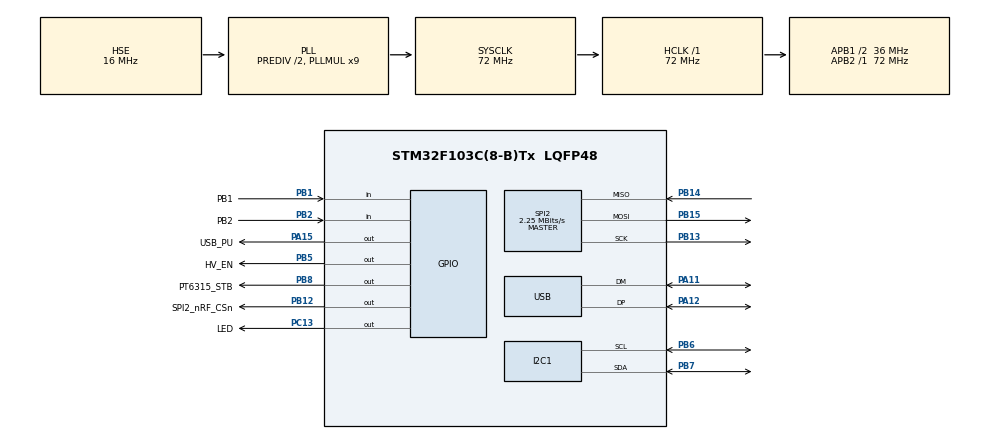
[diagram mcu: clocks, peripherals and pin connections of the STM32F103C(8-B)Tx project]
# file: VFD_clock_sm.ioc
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Mcu.Family=STM32F1
Mcu.Name=STM32F103C(8-B)Tx
Mcu.Package=LQFP48
NVIC.PriorityGroup=NVIC_PRIORITYGROUP_4
NVIC.USB_LP_CAN1_RX0_IRQn=true\:0\:0\:false\:false\:true\:false\:true
PA11.Mode=Device
PA11.Signal=USB_DM
PA12.Mode=Device
PA12.Signal=USB_DP
PA13.Mode=Serial_Wire
PA13.Signal=SYS_JTMS-SWDIO
PA14.Mode=Serial_Wire
PA14.Signal=SYS_JTCK-SWCLK
PA15.GPIO_Label=USB_PU
PA15.Signal=GPIO_Output
PB1.GPIO_Label=PB1
PB1.GPIO_PuPd=GPIO_NOPULL
PB1.Signal=GPIO_Input
PB12.GPIO_Label=SPI2_nRF_CSn
PB12.PinState=GPIO_PIN_SET
PB12.Signal=GPIO_Output
PB13.Mode=Full_Duplex_Master
PB13.Signal=SPI2_SCK
PB14.Mode=Full_Duplex_Master
PB14.Signal=SPI2_MISO
PB15.Mode=Full_Duplex_Master
PB15.Signal=SPI2_MOSI
PB2.GPIO_Label=PB2
PB2.Signal=GPIO_Input
PB5.GPIO_Label=HV_EN
PB5.Signal=GPIO_Output
PB6.Mode=I2C
PB6.Signal=I2C1_SCL
PB7.Mode=I2C
PB7.Signal=I2C1_SDA
PB8.GPIO_Label=PT6315_STB
PB8.PinState=GPIO_PIN_SET
PB8.Signal=GPIO_Output
PC13-TAMPER-RTC.GPIO_Label=LED
PC13-TAMPER-RTC.PinState=GPIO_PIN_SET
PC13-TAMPER-RTC.Signal=GPIO_Output
PD0-OSC_IN.Mode=HSE-External-Oscillator
PD0-OSC_IN.Signal=RCC_OSC_IN
PD1-OSC_OUT.Mode=HSE-External-Oscillator
PD1-OSC_OUT.Signal=RCC_OSC_OUT
ProjectManager.HeapSize=0x200
ProjectManager.StackSize=0x400
ProjectManager.TargetToolchain=STM32CubeIDE
RCC.AHBFreq_Value=72000000
RCC.APB1CLKDivider=RCC_HCLK_DIV2
RCC.APB1Freq_Value=36000000
RCC.APB1TimFreq_Value=72000000
RCC.APB2Freq_Value=72000000
RCC.APB2TimFreq_Value=72000000
RCC.HCLKFreq_Value=72000000
RCC.HSEDivPLL=RCC_HSE_PREDIV_DIV2
RCC.HSE_VALUE=16000000
RCC.PLLMUL=RCC_PLL_MUL9
RCC.SYSCLKFreq_VALUE=72000000
RCC.SYSCLKSource=RCC_SYSCLKSOURCE_PLLCLK
RCC.USBFreq_Value=48000000
RCC.USBPrescaler=RCC_USBCLKSOURCE_PLL_DIV1_5
SPI2.BaudRatePrescaler=SPI_BAUDRATEPRESCALER_16
SPI2.CLKPhase=SPI_PHASE_2EDGE
SPI2.CLKPolarity=SPI_POLARITY_HIGH
SPI2.CalculateBaudRate=2.25 MBits/s
SPI2.Direction=SPI_DIRECTION_2LINES
SPI2.FirstBit=SPI_FIRSTBIT_LSB
SPI2.Mode=SPI_MODE_MASTER
SPI2.VirtualType=VM_MASTER
USB_DEVICE.CLASS_NAME_FS=CDC
USB_DEVICE.VirtualMode=Cdc
USB_DEVICE.VirtualModeFS=Cdc_FS
VP_USB_DEVICE_VS_USB_DEVICE_CDC_FS.Mode=CDC_FS
board=custom

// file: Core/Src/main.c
/* USER CODE BEGIN Header */
/**
 ******************************************************************************
 * @file           : main.c
 * @brief          : Main program body
 ******************************************************************************
 * @attention
 *
 * <h2><center>&copy; Copyright (c) 2021 STMicroelectronics.
 * All rights reserved.</center></h2>
 *
 * This software component is licensed by ST under BSD 3-Clause license,
 * the "License"; You may not use this file except in compliance with the
 * License. You may obtain a copy of the License at:
 *                        opensource.org/licenses/BSD-3-Clause
 *
 ******************************************************************************
 */
/* USER CODE END Header */
#include "main.h"
#include "usb_device.h"

/* USER CODE BEGIN Includes */
#include "fifo.h"
#include "usbd_cdc_if.h"
#include "microrl_cmd.h"
#include "vfd.h"
#include "d3231.h"
#include "bme280.h"

/* USER CODE END Includes */

I2C_HandleTypeDef hi2c1;

SPI_HandleTypeDef hspi2;

/* USER CODE BEGIN PV */

uint8_t brightness;

/* USER CODE END PV */

void SystemClock_Config(void);
static void MX_GPIO_Init(void);
static void MX_I2C1_Init(void);
static void MX_SPI2_Init(void);

/* USER CODE BEGIN 0 */

struct bme280_dev dev;
uint8_t dev_addr = BME280_I2C_ADDR_PRIM<<1;
struct bme280_data comp_data;

// seems to be update in last versions, used only for 2ms and 1ms delays
void user_delay_us(uint32_t period, void *intf_ptr)
{
    /*
     * Return control or wait,
     * for a period amount of ~milliseconds~ ms
     */
	HAL_Delay(period/1000);
}

int8_t user_i2c_read(uint8_t reg_addr, uint8_t *reg_data, uint32_t len, void *intf_ptr)
{
    int8_t rslt = 0; /* Return 0 for Success, non-zero for failure */

    /*
     * The parameter intf_ptr can be used as a variable to store the I2C address of the device
     */

    /*
     * Data on the bus should be like
     * |------------+---------------------|
     * | I2C action | Data                |
     * |------------+---------------------|
     * | Start      | -                   |
     * | Write      | (reg_addr)          |
     * | Stop       | -                   |
     * | Start      | -                   |
     * | Read       | (reg_data[0])       |
     * | Read       | (....)              |
     * | Read       | (reg_data[len - 1]) |
     * | Stop       | -                   |
     * |------------+---------------------|
     */
	HAL_I2C_Mem_Read(&hi2c1, dev_addr, reg_addr, 1, reg_data, len, 100);

    return rslt;
}

int8_t user_i2c_write(uint8_t reg_addr, const uint8_t *reg_data, uint32_t len, void *intf_ptr)
{
    int8_t rslt = 0; /* Return 0 for Success, non-zero for failure */

    /*
     * The parameter intf_ptr can be used as a variable to store the I2C address of the device
     */

    /*
     * Data on the bus should be like
     * |------------+---------------------|
     * | I2C action | Data                |
     * |------------+---------------------|
     * | Start      | -                   |
     * | Write      | (reg_addr)          |
     * | Write      | (reg_data[0])       |
     * | Write      | (....)              |
     * | Write      | (reg_data[len - 1]) |
     * | Stop       | -                   |
     * |------------+---------------------|
     */
	HAL_I2C_Mem_Write(&hi2c1, dev_addr, reg_addr, 1, (uint8_t*)reg_data, len, 100);

    return rslt;
}

int8_t init_bme280_i2c(void)
{
	int8_t rslt = BME280_OK;
	dev.intf_ptr = &dev_addr;
	dev.intf = BME280_I2C_INTF;
	dev.read = user_i2c_read;
	dev.write = user_i2c_write;
	dev.delay_us = user_delay_us;

	rslt = bme280_init(&dev);
	return rslt;
}

void vfd_update(void) {
	uint8_t data = 0b11000000; // command 3, set address to 0
	HAL_GPIO_WritePin(PT6315_STB_GPIO_Port, PT6315_STB_Pin, 0);
	HAL_SPI_Transmit(&hspi2, &data, 1, 0xffffffff);
	HAL_SPI_Transmit(&hspi2, vfd.arr1, sizeof(vfd.arr1), 0xffffffff);
	HAL_GPIO_WritePin(PT6315_STB_GPIO_Port, PT6315_STB_Pin, 1);
}

void do_microrl(void)
{
	while (!fifo_is_empty())
	{
		uint8_t buf = fifo_pop();
		microrl_print_char(buf);
	}
}

void do_vfd_init(void)
{
	HAL_GPIO_WritePin(PT6315_STB_GPIO_Port, PT6315_STB_Pin, 1); // put CS high

	HAL_Delay(300);
	HAL_GPIO_WritePin(HV_EN_GPIO_Port, HV_EN_Pin, 1);

	for (int i = 0; i < sizeof(vfd.arr1); i++) {
		vfd.arr1[i] = 0xFF;
	}
	uint8_t data;

	data = 0b01000001; // command 2, write to LED port
	HAL_GPIO_WritePin(PT6315_STB_GPIO_Port, PT6315_STB_Pin, 0);
	HAL_SPI_Transmit(&hspi2, &data, 1, 0xffffffff);
	HAL_Delay(10);

	data = 0b1111; // disable LEDs

	HAL_SPI_Transmit(&hspi2, &data, 1, 0xffffffff);
	HAL_GPIO_WritePin(PT6315_STB_GPIO_Port, PT6315_STB_Pin, 1);

	data = 0b01000000; // command 2, write to Display port
	HAL_GPIO_WritePin(PT6315_STB_GPIO_Port, PT6315_STB_Pin, 0);
	HAL_SPI_Transmit(&hspi2, &data, 1, 0xffffffff);
	HAL_GPIO_WritePin(PT6315_STB_GPIO_Port, PT6315_STB_Pin, 1);
	HAL_Delay(10);
	vfd_update();
	HAL_Delay(10);
	// init display, 11 digits 17 segments
	data = 0b00000111; // command 1, 11 digits 17 segments
	HAL_GPIO_WritePin(PT6315_STB_GPIO_Port, PT6315_STB_Pin, 0);
	HAL_SPI_Transmit(&hspi2, &data, 1, 0xffffffff);
	HAL_GPIO_WritePin(PT6315_STB_GPIO_Port, PT6315_STB_Pin, 1);
	HAL_Delay(10);

	for (uint8_t i = 0; i <= 0b111; i++) {
		data = 0b10000000; // command 4
		data |= 1 << 3; // enable/disable display
		data |= i; // set brightness
		HAL_GPIO_WritePin(PT6315_STB_GPIO_Port, PT6315_STB_Pin, 0);
		HAL_SPI_Transmit(&hspi2, &data, 1, 0xffffffff);
		HAL_GPIO_WritePin(PT6315_STB_GPIO_Port, PT6315_STB_Pin, 1);
		HAL_Delay(250);
		do_microrl();
	}

	for (int i = 0; i < 11; i++) {
		for (int b = 0; b < 3; b++) // erasing from right to left
		{
			vfd.arr2[i][b] = 0;
		}
		vfd_update();
		HAL_Delay(150);
		do_microrl();
	}
	HAL_Delay(500);
	do_microrl();

	//erase everything... just in case
	clr_vfd();

	// fill everything
	for (int j = 1; j < 15; j++) {
		uint32_t temp = 1 << j;
		for (int i = 1; i < 11; i++) {
			for (int b = 0; b < 3; b++) {
				vfd.arr2[i][b] |= (temp >> (b << 3)) & 0xFF;
			}
		}
		vfd_update();
		HAL_Delay(100);
		do_microrl();
	}

	const uint8_t arr[][2] = {
			{ 6, 0 },
			{ 0, 0 },
			{ 0, 1 },
			{ 0, 4 },
			{ 0, 3 },
			{ 0, 5 },
			{ 0, 2 },
			{ 0, 6 },
			{ 1, 16 },
			{ 1, 15 },
			{ 2, 16 },
			{ 2, 15 },
			{ 3, 16 },
			{ 3, 15 },
			{ 4, 16 },
			{ 4, 15 },
			{ 5, 16 },
			{ 5, 15 },
			{ 6, 16 },
			{ 6, 15 },
			{ 8, 16 },
			{ 8, 15 },
			{ 9, 16 },
			{ 10, 16 },
			{ 10, 15 },
	};

	for (int j = 0; j < sizeof(arr) / 2; j++) {
		for (int b = 0; b < 3; b++)
			vfd.arr2[arr[j][0]][b] |= ((1 << arr[j][1]) >> (b << 3)) & 0xFF;
		vfd_update();
		HAL_Delay(70);
		do_microrl();
	}

	HAL_Delay(300);

	//erase everything... just in case
	clr_vfd();

	vfd_update();
}

void do_brightness(void)
{
	uint8_t data;
	static uint32_t last_time = 0;
	if (HAL_GPIO_ReadPin(PB2_GPIO_Port, PB2_Pin))
	{
		// update only if pause shorter than 2 sec
		if (HAL_GetTick() - last_time < 2000)
		{
			brightness = (brightness - 1)&0b111;
			d3231_set_A2M2(0b111-brightness);
		}

		save_vfd();
		clr_vfd();
		uint32_t bits = 0;
		for (int i = 2; i < 1 + 2 + brightness; i++)
			bits |= 1<<i;
		symbols_vfd(bits);
		str2vfd("BRIGHTNESS");
		vfd_update();

		data = 0b10000000; // command 4
		data |= 1<<3; // enable/disable display
		data |= brightness&0b111; // set brightness
		HAL_GPIO_WritePin(PT6315_STB_GPIO_Port, PT6315_STB_Pin, 0);
		HAL_SPI_Transmit(&hspi2, &data, 1, 0xffffffff);
		HAL_GPIO_WritePin(PT6315_STB_GPIO_Port, PT6315_STB_Pin, 1);
		HAL_Delay(20);
		while(HAL_GPIO_ReadPin(PB2_GPIO_Port, PB2_Pin)); // wait release
		HAL_Delay(100);
		last_time = HAL_GetTick();
		restore_vfd();
		vfd_update();
	}
}

void do_clock(void)
{
	static uint32_t last_time = 0;
	if (HAL_GetTick() - last_time < 50)
		return;
	last_time = HAL_GetTick();

	if (show_clock)
	{
		uint8_t * time = d3231_get_time();
		uint8_t clock [4];

		static uint8_t old_seconds = 0;
		clock[0] = time[1] & 0xF;
		clock[1] = (time[1] >> 4) & 0xF;
		clock[2] = time[2] & 0xF;
		clock[3] = (time[2] >> 4) & 0xF;

		if (time[0] != old_seconds)
		{
			old_seconds = time[0];

			//erase everything...
			clr_vfd();

			for (int i = 0; i < 4; i++)
			{
				uint16_t buf = get_char(clock[i]);

				vfd.arr2[4+i][0] = buf & 0xFF;
				vfd.arr2[4+i][1] = (buf>>8)&0xFF;
			}

			if ((time[0]&0b1) == 0)
			{
				for (int b = 0; b < 3; b++)
					vfd.arr2[6][b] |= ((1<<0)>>(b<<3))&0xFF;
			}

			vfd_update();
		}
	}
}

void do_text(void)
{
	static uint32_t last_time = 0;
	static uint32_t t2dlen = 0;
	if (HAL_GetTick() - last_time < 300)
		return;
	last_time = HAL_GetTick();

	if (show_clock)
		return;

	static int16_t pos = 0;

	if (fresh_txt)
	{
		fresh_txt = false;
		pos = 0;
		t2dlen = strlen(txt2disp);
		// if text too long add spaces before
		if (t2dlen > 10)
		{
			for (int i = sizeof(txt2disp) - 11; i >= 0; i--)
				txt2disp[i + 10] = txt2disp[i];
			for (int i = 0; i < 10; i ++)
				txt2disp[i] = ' ';
			t2dlen += 10;
		}
	}

	clr_vfd();
	str2vfd(&txt2disp[pos]);
	if (t2dlen > 10) // scroll long text
	{
		if (pos < t2dlen)
			pos += 1;
		else
			pos = 0;
		symbols_vfd(0b11);
		//symbols_vfd(1<<(19+((tick++)&0b11)));
	}
	vfd_update();
}

void do_leds(void)
{
	static uint32_t last_time = 0;
	static uint8_t tick_counter = 0;
	if (HAL_GetTick() - last_time < 500)
		return;
	last_time = HAL_GetTick();
	if (use_leds)
	{
		HAL_GPIO_TogglePin(LED_GPIO_Port, LED_Pin);

		uint8_t data = 0b01000001; // command 2, write to LED port
		HAL_GPIO_WritePin(PT6315_STB_GPIO_Port, PT6315_STB_Pin, 0);
		HAL_SPI_Transmit(&hspi2, &data, 1, 0xffffffff);

		data = ~(1<<((tick_counter++ >> 1)&0b11));

		HAL_SPI_Transmit(&hspi2, &data, 1, 0xffffffff);
		HAL_GPIO_WritePin(PT6315_STB_GPIO_Port, PT6315_STB_Pin, 1);
	}
	else
	{
		HAL_GPIO_WritePin(LED_GPIO_Port, LED_Pin, 1);
		uint8_t data = 0b01000001; // command 2, write to LED port
		HAL_GPIO_WritePin(PT6315_STB_GPIO_Port, PT6315_STB_Pin, 0);
		HAL_SPI_Transmit(&hspi2, &data, 1, 0xffffffff);

		data = 0b1111; // disable all leds

		HAL_SPI_Transmit(&hspi2, &data, 1, 0xffffffff);
		HAL_GPIO_WritePin(PT6315_STB_GPIO_Port, PT6315_STB_Pin, 1);
	}

}

// read temperature from d3231 sensor
void _do_temperature(void)
{
	uint16_t buf;
	// show temperature
	if (HAL_GPIO_ReadPin(PB1_GPIO_Port, PB1_Pin))
	{
		//erase everything...
		clr_vfd();

		uint8_t td3231 = *d3231_get_temp();
		uint8_t td [6];

		td[0] = 'C';
		td[1] = 176; //°
		uint8_t i = 2;
		while (td3231)
		{
			td[i++] = td3231 %10;
			td3231 /= 10;
		}
		if (i>2)
			td[i] = td3231&(1<<7)?'-':'+';

		for (int j = 0; j <= i; j++)
		{
			buf = get_char(td[j]);

			vfd.arr2[j+1][0] = buf & 0xFF;
			vfd.arr2[j+1][1] = (buf>>8)&0xFF;
		}

		vfd_update();
		HAL_Delay(20);
		while(HAL_GPIO_ReadPin(PB1_GPIO_Port, PB1_Pin)); // wait release
		HAL_Delay(1000);
		show_clock = true;
	}
}

void update_thp(void)
{
	int8_t rslt;
	uint8_t settings_sel;
	uint32_t req_delay;

	dev.settings.osr_h = BME280_OVERSAMPLING_1X;
	dev.settings.osr_p = BME280_OVERSAMPLING_1X;
	dev.settings.osr_t = BME280_OVERSAMPLING_1X;
	dev.settings.filter = BME280_FILTER_COEFF_OFF;

	settings_sel = BME280_OSR_PRESS_SEL | BME280_OSR_TEMP_SEL | BME280_OSR_HUM_SEL | BME280_FILTER_SEL;

	rslt = bme280_set_sensor_settings(settings_sel, &dev);

	/*Calculate the minimum delay required between consecutive measurement based upon the sensor enabled
	 *  and the oversampling configuration. */
	req_delay = bme280_cal_meas_delay(&dev.settings);

	rslt = bme280_set_sensor_mode(BME280_FORCED_MODE, &dev);
	HAL_Delay(req_delay+5); // just in case some longer delay
	rslt = bme280_get_sensor_data(BME280_ALL, &comp_data, &dev);

	// do some data preparation
	comp_data.humidity = comp_data.humidity*10/1024;
	comp_data.temperature = (comp_data.temperature + 5)/10;
	comp_data.pressure  = (comp_data.pressure + 5)/10;

	snprintf(bme280_ascii.temperature, 11,
			"%+5d.%d %cC",
			(int16_t)comp_data.temperature/10,
			(int16_t)comp_data.temperature%10,
			176);

	snprintf(bme280_ascii.humidity, 11,
			"%4d.%d%% RH",
			(int16_t)comp_data.humidity/10,
			(int16_t)comp_data.humidity%10);

	snprintf(bme280_ascii.pressure, 11,
			"%4d.%d hPa",
			(int16_t)comp_data.pressure/10,
			(int16_t)comp_data.pressure%10);

	strcpy(bme280_ascii.all, bme280_ascii.temperature);
	strcat(bme280_ascii.all, "; ");
	strcat(bme280_ascii.all, bme280_ascii.humidity);
	strcat(bme280_ascii.all, "; ");
	strcat(bme280_ascii.all, bme280_ascii.pressure);
}

void do_measurements(void)
{
	static uint32_t last_time = 0;
	if (HAL_GetTick() - last_time < 200)
		return;

	while(HAL_GPIO_ReadPin(PB1_GPIO_Port, PB1_Pin)) // wait release
	{
		update_thp();

		clr_vfd();

		str2vfd(bme280_ascii.temperature);
		vfd_update();
		HAL_Delay(2000);
		str2vfd(bme280_ascii.humidity);
		vfd_update();
		HAL_Delay(2000);
		str2vfd(bme280_ascii.pressure);
		vfd_update();
		HAL_Delay(2000);

		show_clock = true;
	}

	last_time = HAL_GetTick();
}

/* USER CODE END 0 */

int main(void)
{

	/* MCU Configuration--------------------------------------------------------*/

	/* Reset of all peripherals, Initializes the Flash interface and the Systick. */
	HAL_Init();

	/* Configure the system clock */
	SystemClock_Config();

	/* Initialize all configured peripherals */
	MX_GPIO_Init();
	MX_I2C1_Init();
	MX_SPI2_Init();
	MX_USB_DEVICE_Init();
	/* USER CODE BEGIN 2 */
	HAL_GPIO_WritePin(USB_PU_GPIO_Port, USB_PU_Pin, 1); // we have initialized USB, pull it up!
	d3231_init(&hi2c1);
	init_microrl(); // we are ready for microrl!

	init_bme280_i2c();

	do_vfd_init(); // nice demo

	d3231_get_all();

	brightness = 0b111-d3231_get_A2M2(); // alarm2 minutes as EEPROM, default max

	uint8_t data;

	data = 0b10000000; // command 4
	data |= 1<<3; // enable/disable display
	data |= brightness&0b111; // set brightness
	HAL_GPIO_WritePin(PT6315_STB_GPIO_Port, PT6315_STB_Pin, 0);
	HAL_SPI_Transmit(&hspi2, &data, 1, 0xffffffff);
	HAL_GPIO_WritePin(PT6315_STB_GPIO_Port, PT6315_STB_Pin, 1);

	/* USER CODE END 2 */

	/* Infinite loop */
	/* USER CODE BEGIN WHILE */
	while (1)
	{
		do_microrl();
		do_brightness();
		do_clock();
		do_text();
		do_leds();
		do_measurements();
		/* USER CODE END WHILE */

	}
}

void SystemClock_Config(void)
{
	RCC_OscInitTypeDef RCC_OscInitStruct = {0};
	RCC_ClkInitTypeDef RCC_ClkInitStruct = {0};
	RCC_PeriphCLKInitTypeDef PeriphClkInit = {0};

	/** Initializes the RCC Oscillators according to the specified parameters
	 * in the RCC_OscInitTypeDef structure.
	 */
	RCC_OscInitStruct.OscillatorType = RCC_OSCILLATORTYPE_HSE;
	RCC_OscInitStruct.HSEState = RCC_HSE_ON;
	RCC_OscInitStruct.HSEPredivValue = RCC_HSE_PREDIV_DIV2;
	RCC_OscInitStruct.HSIState = RCC_HSI_ON;
	RCC_OscInitStruct.PLL.PLLState = RCC_PLL_ON;
	RCC_OscInitStruct.PLL.PLLSource = RCC_PLLSOURCE_HSE;
	RCC_OscInitStruct.PLL.PLLMUL = RCC_PLL_MUL9;
	if (HAL_RCC_OscConfig(&RCC_OscInitStruct) != HAL_OK)
	{
		Error_Handler();
	}
	/** Initializes the CPU, AHB and APB buses clocks
	 */
	RCC_ClkInitStruct.ClockType = RCC_CLOCKTYPE_HCLK|RCC_CLOCKTYPE_SYSCLK
			|RCC_CLOCKTYPE_PCLK1|RCC_CLOCKTYPE_PCLK2;
	RCC_ClkInitStruct.SYSCLKSource = RCC_SYSCLKSOURCE_PLLCLK;
	RCC_ClkInitStruct.AHBCLKDivider = RCC_SYSCLK_DIV1;
	RCC_ClkInitStruct.APB1CLKDivider = RCC_HCLK_DIV2;
	RCC_ClkInitStruct.APB2CLKDivider = RCC_HCLK_DIV1;

	if (HAL_RCC_ClockConfig(&RCC_ClkInitStruct, FLASH_LATENCY_2) != HAL_OK)
	{
		Error_Handler();
	}
	PeriphClkInit.PeriphClockSelection = RCC_PERIPHCLK_USB;
	PeriphClkInit.UsbClockSelection = RCC_USBCLKSOURCE_PLL_DIV1_5;
	if (HAL_RCCEx_PeriphCLKConfig(&PeriphClkInit) != HAL_OK)
	{
		Error_Handler();
	}
}

static void MX_I2C1_Init(void)
{

	hi2c1.Instance = I2C1;
	hi2c1.Init.ClockSpeed = 100000;
	hi2c1.Init.DutyCycle = I2C_DUTYCYCLE_2;
	hi2c1.Init.OwnAddress1 = 0;
	hi2c1.Init.AddressingMode = I2C_ADDRESSINGMODE_7BIT;
	hi2c1.Init.DualAddressMode = I2C_DUALADDRESS_DISABLE;
	hi2c1.Init.OwnAddress2 = 0;
	hi2c1.Init.GeneralCallMode = I2C_GENERALCALL_DISABLE;
	hi2c1.Init.NoStretchMode = I2C_NOSTRETCH_DISABLE;
	if (HAL_I2C_Init(&hi2c1) != HAL_OK)
	{
		Error_Handler();
	}

}

static void MX_SPI2_Init(void)
{

	/* SPI2 parameter configuration*/
	hspi2.Instance = SPI2;
	hspi2.Init.Mode = SPI_MODE_MASTER;
	hspi2.Init.Direction = SPI_DIRECTION_2LINES;
	hspi2.Init.DataSize = SPI_DATASIZE_8BIT;
	hspi2.Init.CLKPolarity = SPI_POLARITY_HIGH;
	hspi2.Init.CLKPhase = SPI_PHASE_2EDGE;
	hspi2.Init.NSS = SPI_NSS_SOFT;
	hspi2.Init.BaudRatePrescaler = SPI_BAUDRATEPRESCALER_16;
	hspi2.Init.FirstBit = SPI_FIRSTBIT_LSB;
	hspi2.Init.TIMode = SPI_TIMODE_DISABLE;
	hspi2.Init.CRCCalculation = SPI_CRCCALCULATION_DISABLE;
	hspi2.Init.CRCPolynomial = 10;
	if (HAL_SPI_Init(&hspi2) != HAL_OK)
	{
		Error_Handler();
	}

}

static void MX_GPIO_Init(void)
{
	GPIO_InitTypeDef GPIO_InitStruct = {0};

	/* GPIO Ports Clock Enable */
	__HAL_RCC_GPIOC_CLK_ENABLE();
	__HAL_RCC_GPIOD_CLK_ENABLE();
	__HAL_RCC_GPIOB_CLK_ENABLE();
	__HAL_RCC_GPIOA_CLK_ENABLE();

	/*Configure GPIO pin Output Level */
	HAL_GPIO_WritePin(LED_GPIO_Port, LED_Pin, GPIO_PIN_SET);

	/*Configure GPIO pin Output Level */
	HAL_GPIO_WritePin(GPIOB, SPI2_nRF_CSn_Pin|PT6315_STB_Pin, GPIO_PIN_SET);

	/*Configure GPIO pin Output Level */
	HAL_GPIO_WritePin(USB_PU_GPIO_Port, USB_PU_Pin, GPIO_PIN_RESET);

	/*Configure GPIO pin Output Level */
	HAL_GPIO_WritePin(HV_EN_GPIO_Port, HV_EN_Pin, GPIO_PIN_RESET);

	/*Configure GPIO pin : LED_Pin */
	GPIO_InitStruct.Pin = LED_Pin;
	GPIO_InitStruct.Mode = GPIO_MODE_OUTPUT_PP;
	GPIO_InitStruct.Pull = GPIO_NOPULL;
	GPIO_InitStruct.Speed = GPIO_SPEED_FREQ_LOW;
	HAL_GPIO_Init(LED_GPIO_Port, &GPIO_InitStruct);

	/*Configure GPIO pins : PB1_Pin PB2_Pin */
	GPIO_InitStruct.Pin = PB1_Pin|PB2_Pin;
	GPIO_InitStruct.Mode = GPIO_MODE_INPUT;
	GPIO_InitStruct.Pull = GPIO_NOPULL;
	HAL_GPIO_Init(GPIOB, &GPIO_InitStruct);

	/*Configure GPIO pins : SPI2_nRF_CSn_Pin HV_EN_Pin PT6315_STB_Pin */
	GPIO_InitStruct.Pin = SPI2_nRF_CSn_Pin|HV_EN_Pin|PT6315_STB_Pin;
	GPIO_InitStruct.Mode = GPIO_MODE_OUTPUT_PP;
	GPIO_InitStruct.Pull = GPIO_NOPULL;
	GPIO_InitStruct.Speed = GPIO_SPEED_FREQ_LOW;
	HAL_GPIO_Init(GPIOB, &GPIO_InitStruct);

	/*Configure GPIO pin : USB_PU_Pin */
	GPIO_InitStruct.Pin = USB_PU_Pin;
	GPIO_InitStruct.Mode = GPIO_MODE_OUTPUT_PP;
	GPIO_InitStruct.Pull = GPIO_NOPULL;
	GPIO_InitStruct.Speed = GPIO_SPEED_FREQ_LOW;
	HAL_GPIO_Init(USB_PU_GPIO_Port, &GPIO_InitStruct);

}

void Error_Handler(void)
{
	__disable_irq();
	while (1)
	{
	}
}

/************************ (C) COPYRIGHT STMicroelectronics *****END OF FILE****/
